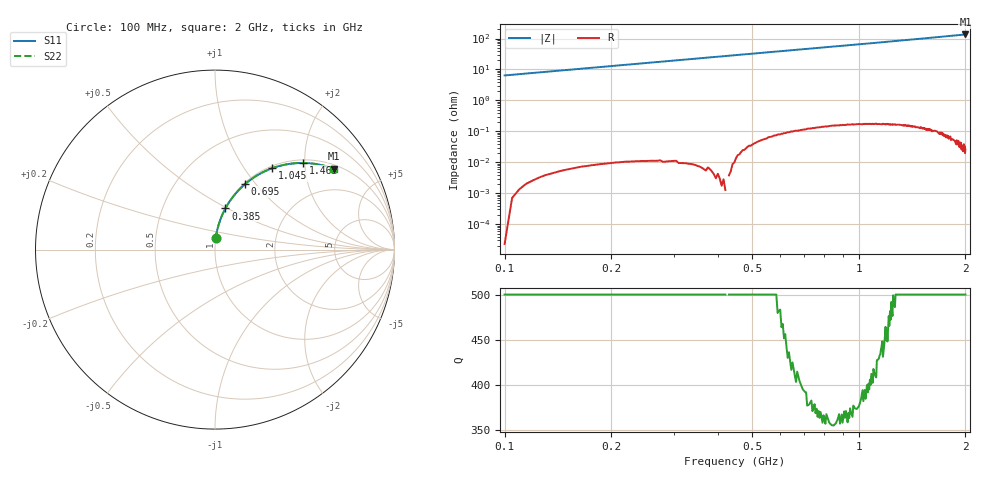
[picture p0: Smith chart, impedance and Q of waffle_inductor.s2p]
! Sonnet Data File
! From: em Version : 14.52
! From Project: waffle_inductor
! Data is De-embedded
! Data File Written: 08/15/2018 22:10:21
!< ->  Created by dxfgeo, Sonnet Software Inc.
!< HDATE 08/15/2018 22:08:19
!< MDATE 08/15/2018 22:09:38
# MHZ S MA R 50.00000
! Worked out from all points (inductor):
!   381 points, 100 MHz to 2 GHz, reference 50 ohm
!   read as one part in series: L = 10.2 nH near 105 MHz
!   highest |Z| = 135 ohm at 2 GHz (marker M1)
!   S11 on the Smith chart (normalised r, x): 100 MHz: 1.00, +0.13; 385 MHz: 1.00, +0.49; 695 MHz: 1.02, +0.89; 1.045 GHz: 1.03, +1.36; 1.465 GHz: 1.07, +1.96; 2 GHz: 1.13, +2.83
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100  0.06305 86.3  0.998 -3.7  0.998 -3.7  0.06305 86.3
!< P1 F=100.0 Eeff=(undefined: mp) Z0=(undefined: mp) R=0.0 C=0.0
!< P2 F=100.0 Eeff=(undefined: mp) Z0=(undefined: mp) R=0.0 C=0.0
125  0.07874 85.3  0.9968 -4.7  0.9968 -4.7  0.07874 85.3
150  0.09438 84.4  0.9955 -5.6  0.9955 -5.6  0.09438 84.4
180  0.1131 83.3  0.9935 -6.7  0.9935 -6.7  0.1131 83.3
210  0.1316 82.1  0.9912 -7.8  0.9912 -7.8  0.1316 82.1
250  0.1561 80.7  0.9876 -9.3  0.9876 -9.3  0.1561 80.7
290  0.1804 79.2  0.9834 -10.8  0.9834 -10.8  0.1804 79.2
335  0.2073 77.6  0.9781 -12.4  0.9781 -12.4  0.2073 77.6
385  0.2367 75.8  0.9715 -14.2  0.9715 -14.2  0.2367 75.8
420  0.257 74.6  0.9664 -15.4  0.9664 -15.4  0.257 74.6
480  0.2907 72.5  0.9564 -17.5  0.9564 -17.5  0.2907 72.5
545  0.3262 70.2  0.9446 -19.7  0.9446 -19.7  0.3262 70.2
695  0.4031 65.2  0.9137 -24.7  0.9137 -24.7  0.4031 65.2
735  0.4224 64.0  0.9048 -25.9  0.9048 -25.9  0.4224 64.0
880  0.4881 59.5  0.8708 -30.4  0.8708 -30.4  0.4881 59.5
1045  0.5546 54.9  0.8298 -35.0  0.8298 -35.0  0.5546 54.9
1050  0.5565 54.7  0.8286 -35.2  0.8286 -35.2  0.5565 54.7
1215  0.6144 50.4  0.7867 -39.5  0.7867 -39.5  0.6144 50.4
1370  0.6619 46.7  0.7474 -43.2  0.7474 -43.2  0.6619 46.7
1465  0.6879 44.6  0.7237 -45.4  0.7237 -45.4  0.6879 44.6
1685  0.7404 40.0  0.6706 -50.0  0.6706 -50.0  0.7404 40.0
2000  0.7996 34.3  0.6001 -55.6  0.6001 -55.6  0.7996 34.4
